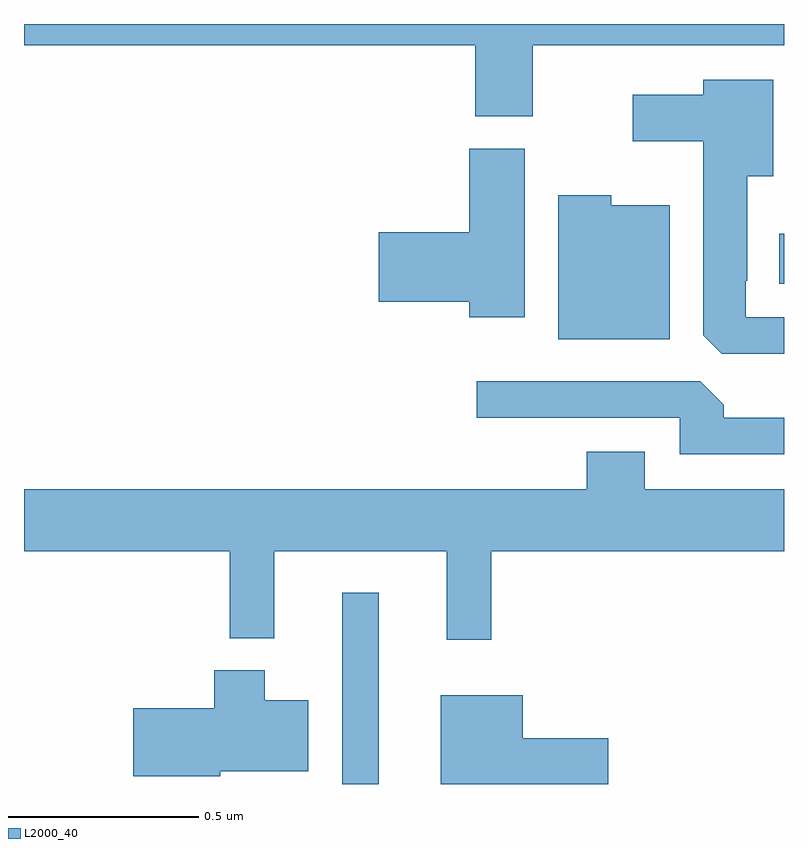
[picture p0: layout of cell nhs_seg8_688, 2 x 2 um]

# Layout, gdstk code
import gdstk
lib = gdstk.Library(unit=1e-6, precision=1e-09)
def R(c, l, rs):  # rectangles x0, y0, x1, y1
    for r in rs: c.add(gdstk.rectangle(r[:2], r[2:], *l))
def P(c, l, *ps):  # polygons
    for p in ps: c.add(gdstk.Polygon(p, *l))
L2000_40 = (2000, 40)

nhs_seg8_688 = lib.new_cell('nhs_seg8_688')
R(nhs_seg8_688, L2000_40, [(120.837,1103.9,120.934,1104.403), (121.988,1105.217,122,1105.348)])
P(nhs_seg8_688, L2000_40, [(121.339,1105.844),(122,1105.844),(122,1105.9),(120,1105.9),(120,1105.844),(121.187,1105.844),(121.187,1105.657),(121.339,1105.657)],
  [(122,1105.128),(121.899,1105.128),(121.899,1105.225),(121.903,1105.225),(121.903,1105.499),(121.972,1105.499),(121.972,1105.753),(121.787,1105.753),(121.787,1105.714),(121.602,1105.714),(121.602,1105.592),(121.787,1105.592),(121.787,1105.081),(121.836,1105.032),(122,1105.032)],
  [(121.318,1105.572),(121.172,1105.572),(121.172,1105.352),(120.933,1105.352),(120.933,1105.169),(121.172,1105.169),(121.172,1105.128),(121.318,1105.128)],
  [(121.699,1105.423),(121.545,1105.423),(121.545,1105.45),(121.406,1105.45),(121.406,1105.07),(121.699,1105.07)],
  [(122,1104.864),(121.841,1104.864),(121.841,1104.898),(121.779,1104.96),(121.191,1104.96),(121.191,1104.864),(121.725,1104.864),(121.725,1104.768),(122,1104.768)],
  [(121.229,1104.512),(122,1104.512),(122,1104.676),(121.633,1104.676),(121.633,1104.775),(121.481,1104.775),(121.481,1104.676),(120,1104.676),(120,1104.512),(120.541,1104.512),(120.541,1104.284),(120.659,1104.284),(120.659,1104.512),(121.112,1104.512),(121.112,1104.279),(121.229,1104.279)],
  [(120.516,1103.933),(120.748,1103.933),(120.748,1104.121),(120.634,1104.121),(120.634,1104.199),(120.5,1104.199),(120.5,1104.099),(120.288,1104.099),(120.288,1103.921),(120.516,1103.921)],
  [(121.537,1104.02),(121.312,1104.02),(121.312,1104.133),(121.097,1104.133),(121.097,1103.9),(121.537,1103.9)])

lib.write_gds('nhs_seg8_688.gds')
